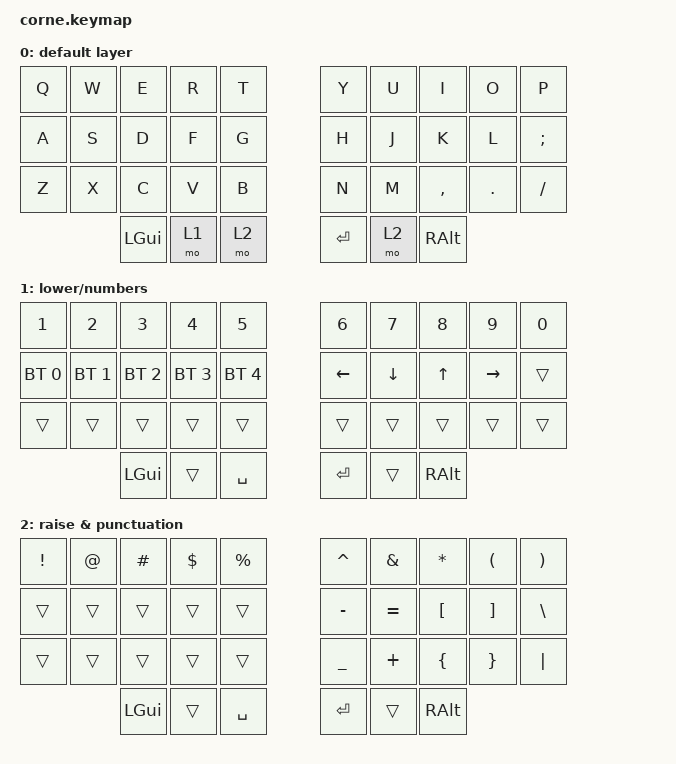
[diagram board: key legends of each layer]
/*
* Copyright (c) 2020 The ZMK Contributors
*
* SPDX-License-Identifier: MIT
*/

#include <behaviors.dtsi>
#include <dt-bindings/zmk/keys.h>
#include <dt-bindings/zmk/bt.h>

&pro_micro_i2c {
	compatible = "nordic,nrf-twim";
	zephyr,concat-buf-size = <264>;
	zephyr,flash-buf-max-size = <264>;
};

/*
&oled {
	height = <64>;
	multiplex-ratio = <63>;
};
*/
/ {
    chosen {
        zmk,physical-layout = &foostan_corne_5col_layout;
    };

    keymap {
        compatible = "zmk,keymap";

        default_layer {
            display-name = "default layer";
            bindings = <
                &kp Q &kp W &kp E &kp R &kp T   &kp Y &kp U  &kp I     &kp O   &kp P
                &kp A &kp S &kp D &kp F &kp G   &kp H &kp J  &kp K     &kp L   &kp SEMI
                &kp Z &kp X &kp C &kp V &kp B   &kp N &kp M  &kp COMMA &kp DOT &kp FSLH
                &kp LGUI &mo 1 &mo 2   &kp RET &mo 2 &kp RALT
            >;
        };

        lower_layer {
            display-name = "lower/numbers";
            bindings = <
                &kp N1       &kp N2       &kp N3       &kp N4       &kp N5         &kp N6   &kp N7   &kp N8 &kp N9    &kp N0
                &bt BT_SEL 0 &bt BT_SEL 1 &bt BT_SEL 2 &bt BT_SEL 3 &bt BT_SEL 4   &kp LEFT &kp DOWN &kp UP &kp RIGHT &trans
                &trans       &trans       &trans       &trans       &trans         &trans   &trans   &trans &trans    &trans
                &kp LGUI     &trans       &kp SPACE      &kp RET  &trans   &kp RALT
            >;
        };

        raise_layer {
            display-name = "raise & punctuation";
            bindings = <
                &kp EXCL &kp AT &kp HASH &kp DLLR &kp PRCNT   &kp CARET &kp AMPS  &kp ASTRK &kp LPAR &kp RPAR
                &trans   &trans &trans   &trans   &trans      &kp MINUS &kp EQUAL &kp LBKT  &kp RBKT &kp BSLH
                &trans   &trans &trans   &trans   &trans      &kp UNDER &kp PLUS  &kp LBRC  &kp RBRC &kp PIPE
                &kp LGUI &trans   &kp SPACE   &kp RET   &trans    &kp RALT
            >;
        };
    };
};
